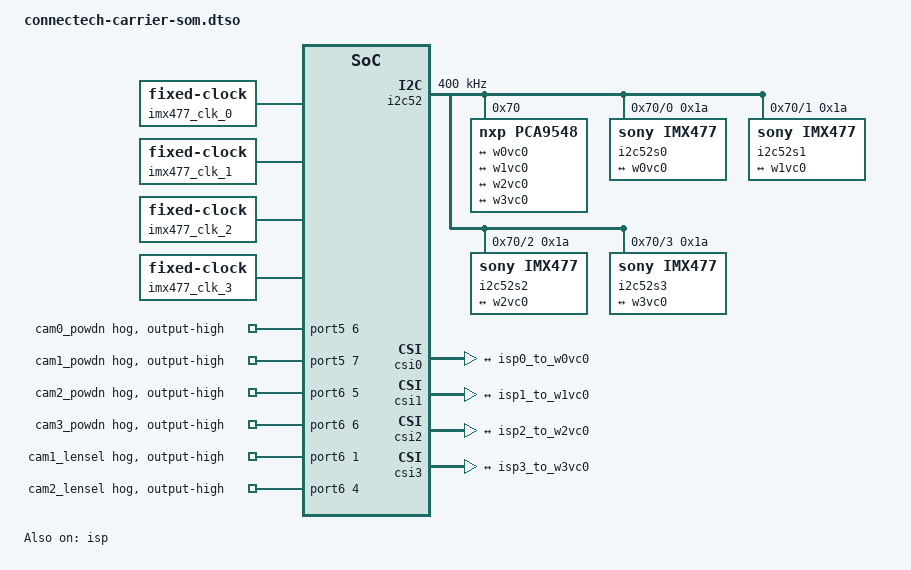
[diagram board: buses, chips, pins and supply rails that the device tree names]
// SPDX-License-Identifier: (GPL-2.0+ OR MIT)
/*
 * Copyright (c) 2025 SiMa ai
 */

/dts-v1/;
/plugin/;

&port5 {
    cam-hog0 {
        gpio-hog;
        /* Set port5 gpio6 to GPIO_ACTIVE_HIGH mode */
        gpios = <6 0>;
        output-high;
        line-name = "cam0_powdn";
    };
    cam-hog1 {
        gpio-hog;
        /* Set port5 gpio7 to GPIO_ACTIVE_HIGH mode */
        gpios = <7 0>;
        output-high;
        line-name = "cam1_powdn";
    };
};
&port6 {
    cam-hog2 {
        gpio-hog;
        /* Set port6 gpio5 to GPIO_ACTIVE_HIGH mode */
        gpios = <5 0>;
        output-high;
        line-name = "cam2_powdn";
    };
    cam-hog3 {
        gpio-hog;
        /* Set port6 gpio6 to GPIO_ACTIVE_HIGH mode */
        gpios = <6 0>;
        output-high;
        line-name = "cam3_powdn";
    };
    cam-len0 {
	    gpio-hog;
	    /* Set port6 gpio1 to GPIO_ACTIVE_HIGH mode */
	    gpios = <1 0>;
	    output-high;
	    line-name = "cam1_lensel";
    };
    cam-len1 {
	    gpio-hog;
	    /* Set port6 gpio4 to GPIO_ACTIVE_HIGH mode */
	    gpios = <4 0>;
	    output-high;
	    line-name = "cam2_lensel";
    };
};

/ {
    fragment@40 {
        target-path = "/"; /* Root node of the base tree */
        __overlay__ {
            imx477_clk_0: csi0_camera-clk {
                compatible = "fixed-clock";
                #clock-cells = <0>;
                clock-frequency = <24000000>;
            };
            imx477_clk_1: csi1_camera-clk {
                compatible = "fixed-clock";
                #clock-cells = <0>;
                clock-frequency = <24000000>;
            };
            imx477_clk_2: csi2_camera-clk {
                compatible = "fixed-clock";
                #clock-cells = <0>;
                clock-frequency = <24000000>;
            };
            imx477_clk_3: csi3_camera-clk {
                compatible = "fixed-clock";
                #clock-cells = <0>;
                clock-frequency = <24000000>;
            };
	};
    };
};

&i2c52 {
    status = "okay";
    clock-frequency = <400000>;
    #address-cells = <1>;
    #size-cells = <0>;
    pca9548: i2c-mux@70 {
        compatible = "nxp,pca9548";
	reg = <0x70>;
	idle-state = <0>;
        i2c@0 {
            reg = <0>;
            #address-cells = <1>;
            #size-cells = <0>;

            i2c52s0: sensor@1a {
                compatible = "sony,imx477";
                reg = <0x1a>;
                clocks = <&imx477_clk_0>;
                clock-names = "xclk";

                i2c52p0: port@1 {
                    camera_0: endpoint@0 {
                        remote-endpoint = <&w0vc0>;
                        data-lanes = <1 2>;
                        clock-lanes = <0>;
                        clock-continuous;
                        link-frequencies = /bits/ 64 <450000000>;
                    };
                };
            };
        };
        i2c@1 {
            reg = <1>;
            #address-cells = <1>;
            #size-cells = <0>;

            i2c52s1: sensor@1a {
                compatible = "sony,imx477";
                reg = <0x1a>;
                clocks = <&imx477_clk_1>;
                clock-names = "xclk";

                i2c52p1: port@1 {
                    camera_1: endpoint@0 {
                        remote-endpoint = <&w1vc0>;
                        data-lanes = <1 2>;
                        clock-lanes = <0>;
                        clock-continuous;
                        link-frequencies = /bits/ 64 <450000000>;
                     };
                  };
               };
            };
        i2c@2 {
            reg = <2>;
            #address-cells = <1>;
            #size-cells = <0>;

            i2c52s2: sensor@1a {
                compatible = "sony,imx477";
                reg = <0x1a>;
                clocks = <&imx477_clk_2>;
                clock-names = "xclk";

                i2c52p2: port@1 {
                    camera_2: endpoint@0 {
                        remote-endpoint = <&w2vc0>;
                        data-lanes = <1 2>;
                        clock-lanes = <0>;
                        clock-continuous;
                        link-frequencies = /bits/ 64 <450000000>;
                     };
                  };
               };
            };
        i2c@3 {
            reg = <3>;
            #address-cells = <1>;
            #size-cells = <0>;

            i2c52s3: sensor@1a {
                compatible = "sony,imx477";
                reg = <0x1a>;
                clocks = <&imx477_clk_3>;
                clock-names = "xclk";

                i2c52p3: port@1 {
                    camera_3: endpoint@0 {
                        remote-endpoint = <&w3vc0>;
                        data-lanes = <1 2>;
                        clock-lanes = <0>;
                        clock-continuous;
                        link-frequencies = /bits/ 64 <450000000>;
                     };
                  };
               };
            };
      };
};

&axi_vdma_vis0 { status = "okay"; };
&axi_vdma_vis1 { status = "okay"; };
&axi_vdma_vis2 { status = "okay"; };
&axi_vdma_vis3 { status = "okay"; };

&csi0 {
    status = "okay";
    isp-connected = <1>;
        csi0p0: port@1 {
                reg = <1>;
                w0vc0_to_isp0: endpoint@1 {
                        remote-endpoint = <&isp0_to_w0vc0>;
                        data-lanes = <1 2>;
                        clock-lanes = <1>;
                        clock-continuous;
                        link-frequencies = /bits/ 64 <450000000>;
                };
        };
};
&csi1 {
    status = "okay";
    isp-connected = <1>;
        csi1p0: port@1 {
            reg = <1>;
                w1vc0_to_isp1: endpoint@1 {
                    remote-endpoint = <&isp1_to_w1vc0>;
                    data-lanes = <1 2>;
                    clock-lanes = <1>;
                    clock-continuous;
                    link-frequencies = /bits/ 64 <450000000>;
                               };
                };
};
&csi2 {
    status = "okay";
    isp-connected = <1>;
        csi2p0: port@1 {
            reg = <1>;
                w2vc0_to_isp2: endpoint@1 {
                    remote-endpoint = <&isp2_to_w2vc0>;
                    data-lanes = <1 2>;
                    clock-lanes = <1>;
                    clock-continuous;
                    link-frequencies = /bits/ 64 <450000000>;
                               };
                };
};
&csi3 {
    status = "okay";
    isp-connected = <1>;
        csi3p0: port@1 {
            reg = <1>;
                w3vc0_to_isp3: endpoint@1 {
                    remote-endpoint = <&isp3_to_w3vc0>;
                    data-lanes = <1 2>;
                    clock-lanes = <1>;
                    clock-continuous;
                    link-frequencies = /bits/ 64 <450000000>;
                               };
                };
};

&isp {
    status = "okay";
    ports {
	#address-cells = <1>;
	#size-cells = <0>;
                isp0p0: port@0 {
                        reg = <0>;
                        isp0_to_w0vc0: endpoint@0 {
                                remote-endpoint = <&w0vc0_to_isp0>;
                        };
                        w0vc0: endpoint@1 {
                                remote-endpoint = <&camera_0>;
                        };
                };
                isp1p0: port@1 {
                    reg = <1>;
                        isp1_to_w1vc0: endpoint@0 {
                            remote-endpoint = <&w1vc0_to_isp1>;
                                       };
                        w1vc0: endpoint@1 {
                            remote-endpoint = <&camera_1>;
			};
		};
                isp2p0: port@2 {
                    reg = <2>;
                        isp2_to_w2vc0: endpoint@0 {
                            remote-endpoint = <&w2vc0_to_isp2>;
                                       };
                        w2vc0: endpoint@1 {
                            remote-endpoint = <&camera_2>;
			};
                };
               isp3p0: port@3 {
                    reg = <3>;
                        isp3_to_w3vc0: endpoint@0 {
                            remote-endpoint = <&w3vc0_to_isp3>;
                                       };
                        w3vc0: endpoint@1 {
                            remote-endpoint = <&camera_3>;
			};
                };
        };
};
